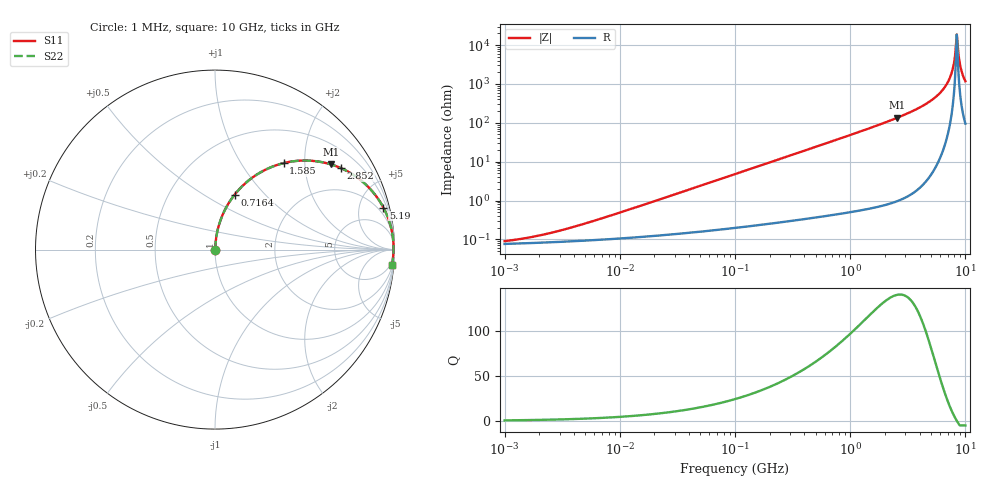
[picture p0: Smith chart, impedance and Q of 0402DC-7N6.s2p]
# MHz  S  MA  R  50
!Freq  MagS11  AngS11  MagS21  AngS21  MagS12  AngS12  MagS22  AngS22
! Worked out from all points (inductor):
!   801 points, 1 MHz to 10 GHz, reference 50 ohm
!   read as one part in series: L = 7.6 nH near 6.026 MHz
!   highest Q = 140 at 2.571 GHz (marker M1), where L = 8.38 nH
!   self-resonance near 8.418 GHz
!   S11 on the Smith chart (normalised r, x): 1 MHz: 1.00, +0.00; 716.4 MHz: 1.01, +0.69; 1.585 GHz: 1.01, +1.57; 2.852 GHz: 1.02, +3.08; 5.19 GHz: 1.11, +7.98; 10 GHz: 3, -23
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1  0.0009003 32.0  0.9992 -0.0  0.9992 -0.0  0.0009003 32.0
2.06545  0.001283 50.1  0.9992 -0.1  0.9992 -0.1  0.001283 50.1
4.67769  0.002413 67.5  0.9991 -0.1  0.9991 -0.1  0.002413 67.5
21.6303  0.01039 82.5  0.9987 -0.6  0.9987 -0.6  0.01039 82.5
100.0216  0.04766 84.9  0.9969 -2.7  0.9969 -2.7  0.04766 84.9
467.8699  0.218 76.5  0.9725 -12.6  0.9725 -12.6  0.218 76.5
716.3641  0.3246 70.4  0.9419 -18.9  0.9419 -18.9  0.3246 70.4
1585.441  0.615 51.6  0.7835 -37.9  0.7835 -37.9  0.615 51.6
2163.497  0.7391 41.9  0.6682 -47.6  0.6682 -47.6  0.7391 41.9
2571.342  0.8016 36.3  0.5921 -53.3  0.5921 -53.3  0.8016 36.3
2852.081  0.8356 32.9  0.5433 -56.7  0.5433 -56.7  0.8356 32.9
3982.618  0.923 22.1  0.377 -67.4  0.377 -67.4  0.923 22.1
5190.08  0.967 14.0  0.2423 -75.2  0.2423 -75.2  0.967 14.0
6239.903  0.9851 8.6  0.1495 -80.0  0.1495 -80.0  0.9851 8.6
7082.399  0.9921 5.0  0.08644 -82.3  0.08644 -82.3  0.9921 5.0
7676.832  0.9943 2.7  0.04659 -81.7  0.04659 -81.7  0.9943 2.7
8131.735  0.9949 1.0  0.01856 -73.4  0.01856 -73.4  0.9949 1.0
8417.515  0.9948 0.0  0.005307 -8.7  0.005307 -8.7  0.9948 0.0
8713.339  0.9943 -0.9  0.01716 70.3  0.01716 70.3  0.9943 -0.9
9019.56  0.9936 -1.9  0.0338 78.2  0.0338 78.2  0.9936 -1.9
9336.542  0.9926 -2.9  0.05072 80.1  0.05072 80.1  0.9926 -2.9
10000  0.9896 -4.8  0.08452 80.5  0.08452 80.5  0.9896 -4.8
